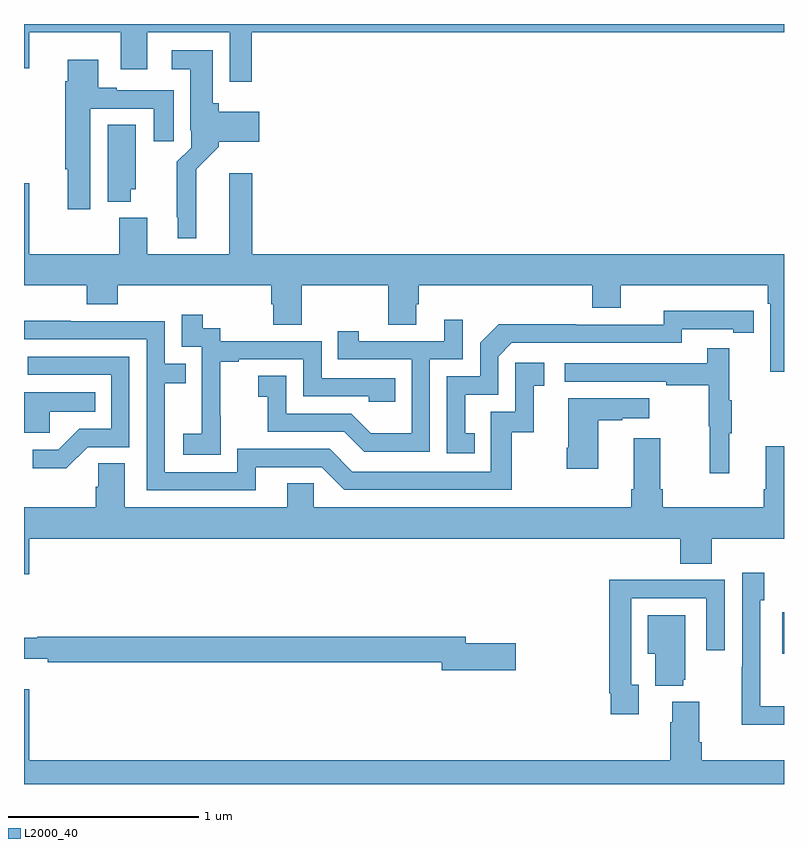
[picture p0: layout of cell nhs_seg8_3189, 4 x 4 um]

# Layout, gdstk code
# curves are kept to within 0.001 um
import gdstk
lib = gdstk.Library(unit=1e-6, precision=1e-09)
def R(c, l, rs):  # rectangles x0, y0, x1, y1
    for r in rs: c.add(gdstk.rectangle(r[:2], r[2:], *l))
def P(c, l, *ps):  # polygons
    for p in ps: c.add(gdstk.Polygon(p, *l))
L2000_40 = (2000, 40)

nhs_seg8_3189 = lib.new_cell('nhs_seg8_3189')
R(nhs_seg8_3189, L2000_40, [(312.992,1090.586,313,1090.805)])
P(nhs_seg8_3189, L2000_40, [(310.199,1093.856),(313,1093.856),(313,1093.9),(309,1093.9),(309,1093.668),(309.028,1093.668),(309.028,1093.856),(309.509,1093.856),(309.509,1093.662),(309.649,1093.662),(309.649,1093.856),(310.083,1093.856),(310.083,1093.596),(310.199,1093.596)],
  [(309.907,1093.136),(310.025,1093.254),(310.025,1093.28),(310.237,1093.28),(310.237,1093.438),(310.025,1093.438),(310.025,1093.482),(309.994,1093.482),(309.994,1093.762),(309.777,1093.762),(309.777,1093.661),(309.875,1093.661),(309.875,1093.342),(309.879,1093.342),(309.879,1093.248),(309.805,1093.174),(309.805,1092.883),(309.809,1092.883),(309.809,1092.773),(309.907,1092.773)],
  [(309.349,1093.455),(309.683,1093.455),(309.683,1093.284),(309.787,1093.284),(309.787,1093.551),(309.487,1093.551),(309.487,1093.564),(309.391,1093.564),(309.391,1093.711),(309.23,1093.711),(309.23,1093.598),(309.218,1093.598),(309.218,1093.136),(309.23,1093.136),(309.23,1092.924),(309.349,1092.924)],
  [(309.562,1093.029),(309.589,1093.029),(309.589,1093.37),(309.44,1093.37),(309.44,1092.965),(309.562,1092.965)],
  [(313,1092.688),(310.202,1092.688),(310.202,1093.114),(310.079,1093.114),(310.079,1092.688),(309.649,1092.688),(309.649,1092.88),(309.502,1092.88),(309.502,1092.688),(309.028,1092.688),(309.028,1093.063),(309,1093.063),(309,1092.524),(309.329,1092.524),(309.329,1092.425),(309.494,1092.425),(309.494,1092.524),(310.301,1092.524),(310.301,1092.426),(310.313,1092.426),(310.313,1092.316),(310.461,1092.316),(310.461,1092.524),(310.918,1092.524),(310.918,1092.316),(311.065,1092.316),(311.065,1092.426),(311.078,1092.426),(311.078,1092.524),(311.99,1092.524),(311.99,1092.407),(312.142,1092.407),(312.142,1092.524),(312.914,1092.524),(312.914,1092.428),(312.927,1092.428),(312.927,1092.069),(313,1092.069)],
  [(311.372,1091.745),(311.323,1091.745),(311.323,1091.949),(311.496,1091.949),(311.496,1092.15),(311.568,1092.222),(312.462,1092.222),(312.462,1092.294),(312.734,1092.294),(312.734,1092.274),(312.842,1092.274),(312.842,1092.39),(312.366,1092.391),(312.366,1092.318),(311.906,1092.318),(311.906,1092.32),(311.498,1092.32),(311.4,1092.222),(311.4,1092.045),(311.226,1092.045),(311.226,1091.64),(311.372,1091.64)],
  [(310.035,1091.839),(310.034,1091.839),(310.034,1092.123),(310.129,1092.123),(310.129,1092.135),(310.47,1092.135),(310.47,1091.94),(310.815,1091.94),(310.815,1091.913),(310.955,1091.913),(310.955,1092.036),(310.566,1092.036),(310.566,1092.231),(310.032,1092.231),(310.032,1092.3),(309.94,1092.3),(309.94,1092.37),(309.831,1092.37),(309.831,1092.201),(309.936,1092.201),(309.936,1091.972),(309.935,1091.972),(309.935,1091.743),(309.837,1091.743),(309.837,1091.633),(310.035,1091.633)],
  [(311.136,1092.135),(311.31,1092.135),(311.31,1092.343),(311.213,1092.343),(311.213,1092.231),(310.762,1092.231),(310.762,1092.283),(310.651,1092.283),(310.651,1092.135),(311.04,1092.135),(311.04,1091.746),(310.826,1091.746),(310.722,1091.85),(310.38,1091.85),(310.38,1092.049),(310.233,1092.049),(310.233,1091.939),(310.282,1091.939),(310.282,1091.754),(310.685,1091.754),(310.79,1091.649),(311.136,1091.649)],
  [(310.219,1091.568),(310.566,1091.568),(310.686,1091.448),(311.566,1091.448),(311.566,1091.751),(311.684,1091.751),(311.684,1091.997),(311.737,1091.997),(311.737,1092.118),(311.586,1092.118),(311.586,1091.859),(311.457,1091.859),(311.457,1091.544),(310.728,1091.544),(310.608,1091.664),(310.122,1091.664),(310.122,1091.541),(309.741,1091.541),(309.741,1092.01),(309.851,1092.01),(309.851,1092.111),(309.741,1092.111),(309.741,1092.336),(309.245,1092.336),(309.245,1092.338),(309,1092.338),(309,1092.24),(309.645,1092.24),(309.645,1091.445),(310.219,1091.445)],
  [(312.713,1091.747),(312.724,1091.747),(312.724,1091.921),(312.713,1091.921),(312.713,1092.193),(312.595,1092.193),(312.595,1092.114),(311.847,1092.114),(311.847,1092.018),(312.379,1092.018),(312.379,1091.998),(312.603,1091.998),(312.603,1091.784),(312.61,1091.784),(312.61,1091.535),(312.713,1091.535)],
  [(309.336,1091.673),(309.555,1091.673),(309.555,1092.15),(309.021,1092.15),(309.021,1092.054),(309.459,1092.054),(309.459,1091.769),(309.29,1091.769),(309.179,1091.658),(309.045,1091.658),(309.045,1091.561),(309.223,1091.561)],
  [(309.135,1091.858),(309.374,1091.858),(309.374,1091.962),(309,1091.962),(309,1091.75),(309.135,1091.75)],
  [(312.022,1091.815),(312.149,1091.815),(312.149,1091.825),(312.292,1091.825),(312.292,1091.929),(311.864,1091.929),(311.864,1091.671),(311.857,1091.671),(311.857,1091.559),(312.022,1091.559)],
  [(309.028,1091.192),(312.455,1091.192),(312.455,1091.059),(312.62,1091.059),(312.62,1091.192),(313,1091.192),(313,1091.677),(312.905,1091.677),(312.905,1091.452),(312.893,1091.452),(312.893,1091.356),(312.362,1091.356),(312.362,1091.452),(312.349,1091.452),(312.349,1091.719),(312.209,1091.719),(312.209,1091.452),(312.197,1091.452),(312.197,1091.356),(310.524,1091.356),(310.524,1091.483),(310.385,1091.483),(310.385,1091.356),(309.529,1091.356),(309.529,1091.588),(309.39,1091.588),(309.39,1091.465),(309.377,1091.465),(309.377,1091.356),(309,1091.356),(309,1091.004),(309.028,1091.004)],
  [(313,1090.308),(312.876,1090.308),(312.876,1090.866),(312.895,1090.866),(312.895,1091.011),(312.78,1091.011),(312.78,1090.517),(312.778,1090.517),(312.778,1090.211),(313,1090.211)],
  [(312.235,1090.422),(312.195,1090.422),(312.195,1090.878),(312.591,1090.878),(312.591,1090.605),(312.687,1090.605),(312.687,1090.974),(312.371,1090.974),(312.371,1090.976),(312.079,1090.976),(312.079,1090.378),(312.087,1090.378),(312.087,1090.266),(312.235,1090.266)],
  [(312.47,1090.449),(312.481,1090.449),(312.481,1090.789),(312.284,1090.789),(312.284,1090.586),(312.323,1090.586),(312.323,1090.418),(312.47,1090.418)],
  [(311.587,1090.64),(311.326,1090.64),(311.326,1090.676),(309.07,1090.676),(309.07,1090.669),(309,1090.669),(309,1090.559),(309.124,1090.559),(309.124,1090.54),(311.198,1090.54),(311.198,1090.498),(311.587,1090.498)],
  [(309.028,1090.399),(309,1090.399),(309,1089.9),(313,1089.9),(313,1090.024),(312.566,1090.024),(312.566,1090.12),(312.553,1090.12),(312.553,1090.333),(312.413,1090.333),(312.413,1090.226),(312.401,1090.226),(312.401,1090.024),(309.028,1090.024)])

lib.write_gds('nhs_seg8_3189.gds')
